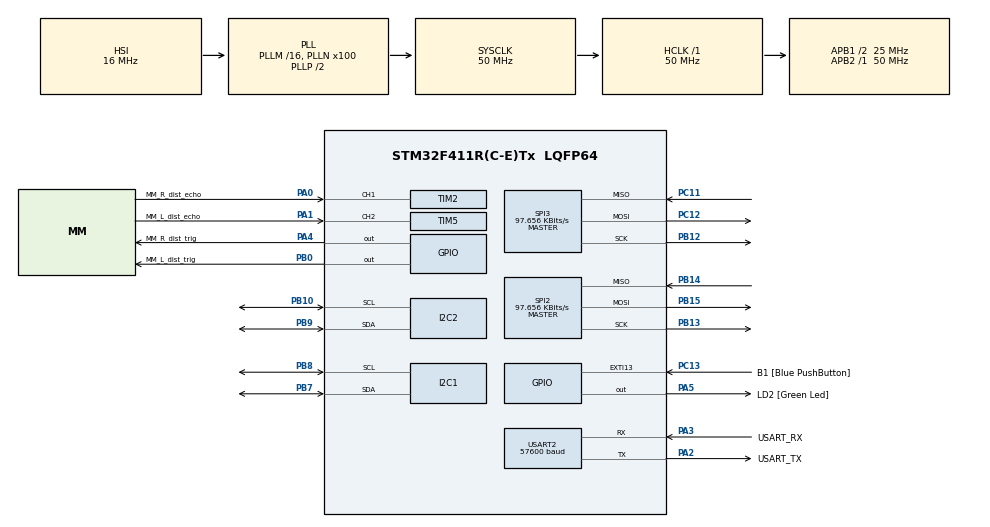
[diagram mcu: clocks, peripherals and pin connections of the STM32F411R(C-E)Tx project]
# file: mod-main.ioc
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Mcu.Family=STM32F4
VP_TIM5_VS_ClockSourceINT.Mode=Internal
RCC.CortexFreq_Value=50000000
SPI3.Direction=SPI_DIRECTION_2LINES
SPI3.VirtualType=VM_MASTER
TIM2.Channel-Input_Capture1_from_TI1=TIM_CHANNEL_1
SPI2.VirtualType=VM_MASTER
PB10.Mode=I2C
PC12.Signal=SPI3_MOSI
PA14.GPIO_Label=TCK
SH.S_TIM5_CH2.0=TIM5_CH2,Input_Capture2_from_TI2
PB0.GPIO_Label=MM_L_dist_trig
PB13.Signal=SPI2_SCK
PB15.Signal=SPI2_MOSI
RCC.SYSCLKSource=RCC_SYSCLKSOURCE_PLLCLK
ProjectManager.StackSize=0x400
PH0\ -\ OSC_IN.Signal=RCC_OSC_IN
TIM2.ICPolarity_CH1=TIM_INPUTCHANNELPOLARITY_BOTHEDGE
NVIC.TIM5_IRQn=true\:5\:0\:false\:false\:true\:true\:true\:true
RCC.HCLKFreq_Value=50000000
RCC.APB2TimFreq_Value=50000000
TIM2.ClockDivision=TIM_CLOCKDIVISION_DIV1
RCC.AHBFreq_Value=50000000
SPI2.BaudRatePrescaler=SPI_BAUDRATEPRESCALER_256
NVIC.TIM1_TRG_COM_TIM11_IRQn=true\:0\:0\:false\:false\:true\:false\:false\:true
RCC.HSE_VALUE=8000000
PC13-ANTI_TAMP.Signal=GPXTI13
PC14-OSC32_IN.Mode=LSE-External-Oscillator
PA14.Mode=Serial_Wire
PB14.Mode=Full_Duplex_Master
NVIC.TIM2_IRQn=true\:5\:0\:false\:false\:true\:true\:true\:true
SPI2.CalculateBaudRate=97.656 KBits/s
PB7.Signal=I2C1_SDA
VP_FREERTOS_VS_CMSIS_V1.Mode=CMSIS_V1
TIM9.Prescaler=50 - 1
RCC.FLatency-AdvancedSettings=FLASH_LATENCY_1
Mcu.Package=LQFP64
PB9.Signal=I2C2_SDA
TIM2.Prescaler=50
PB12.Mode=Full_Duplex_Master
NVIC.TimeBase=TIM1_TRG_COM_TIM11_IRQn
SPI2.Mode=SPI_MODE_MASTER
SPI3.Mode=SPI_MODE_MASTER
USART2.VirtualMode=VM_ASYNC
PA2.GPIO_Label=USART_TX
NVIC.TimeBaseIP=TIM11
PC11.Mode=Full_Duplex_Master
TIM5.ICFilter_CH2=4
RCC.APB1TimFreq_Value=50000000
SPI2.Direction=SPI_DIRECTION_2LINES
PB13.Mode=Full_Duplex_Master
PA4.GPIO_Label=MM_R_dist_trig
TIM9.Period=1
PA3.Signal=USART2_RX
PB3.GPIO_Label=SWO
PC15-OSC32_OUT.Mode=LSE-External-Oscillator
FREERTOS.Tasks01=defaultTask,-1,128,StartDefaultTask,Default,NULL,Dynamic,NULL,NULL;MM_R_task,-2,128,MM_R_t,Default,NULL,Dynamic,NULL,NULL;MM_L_task,-2,128,MM_L_t,Default,NULL,Dynamic,NULL,NULL
TIM2.CounterMode=TIM_COUNTERMODE_UP
PC13-ANTI_TAMP.GPIO_Label=B1 [Blue PushButton]
PC11.Signal=SPI3_MISO
PH1\ -\ OSC_OUT.Mode=HSE-External-Clock-Source
RCC.APB1CLKDivider=RCC_HCLK_DIV2
PC14-OSC32_IN.Signal=RCC_OSC32_IN
USART2.BaudRate=57600
TIM5.ICPolarity_CH2=TIM_INPUTCHANNELPOLARITY_BOTHEDGE
TIM5.AutoReloadPreload=TIM_AUTORELOAD_PRELOAD_DISABLE
PA0-WKUP.GPIO_Label=MM_R_dist_echo
PA0-WKUP.Signal=S_TIM2_CH1_ETR
TIM5.Channel-Input_Capture2_from_TI2=TIM_CHANNEL_2
PA13.Signal=SYS_JTMS-SWDIO
PA3.Mode=Asynchronous
PH0\ -\ OSC_IN.Mode=HSE-External-Clock-Source
ProjectManager.TargetToolchain=STM32CubeIDE
PB9.Mode=I2C
TIM2.ICFilter_CH1=4
PC15-OSC32_OUT.Signal=RCC_OSC32_OUT
PA1.Signal=S_TIM5_CH2
PB10.Signal=I2C2_SCL
PB14.Signal=SPI2_MISO
PA5.Signal=GPIO_Output
PC12.Mode=Full_Duplex_Master
PH1\ -\ OSC_OUT.Signal=RCC_OSC_OUT
board=NUCLEO-F411RE
RCC.VCOOutputFreq_Value=100000000
PB15.Mode=Full_Duplex_Master
VP_TIM9_VS_ClockSourceINT.Mode=Internal
RCC.APB2Freq_Value=50000000
SPI3.CalculateBaudRate=97.656 KBits/s
VP_TIM2_VS_ClockSourceINT.Mode=Internal
SPI3.BaudRatePrescaler=SPI_BAUDRATEPRESCALER_256
PA1.GPIO_Label=MM_L_dist_echo
TIM2.Period=1000000
PA13.Mode=Serial_Wire
Mcu.Name=STM32F411R(C-E)Tx
VP_SYS_VS_tim11.Mode=TIM11
PA2.Signal=USART2_TX
PA13.GPIO_Label=TMS
RCC.48MHZClocksFreq_Value=25000000
PB3.Signal=SYS_JTDO-SWO
PA4.Signal=GPIO_Output
RCC.SYSCLKFreq_VALUE=50000000
PA5.GPIO_Label=LD2 [Green Led]
TIM5.Prescaler=50
PC13-ANTI_TAMP.GPIO_ModeDefaultEXTI=GPIO_MODE_IT_FALLING
PB7.Mode=I2C
SH.S_TIM2_CH1_ETR.0=TIM2_CH1,Input_Capture1_from_TI1
PA14.Signal=SYS_JTCK-SWCLK
ProjectManager.HeapSize=0x200
RCC.HSI_VALUE=16000000
NVIC.PriorityGroup=NVIC_PRIORITYGROUP_4
PB8.Mode=I2C
RCC.PLLN=100
PA2.Mode=Asynchronous
PB8.Signal=I2C1_SCL
TIM2.AutoReloadPreload=TIM_AUTORELOAD_PRELOAD_DISABLE
TIM5.Period=1000000
RCC.APB1Freq_Value=25000000
PB0.Signal=GPIO_Output
PB12.Signal=SPI3_SCK
PA3.GPIO_Label=USART_RX

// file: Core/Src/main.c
/* USER CODE BEGIN Header */
/**
  ******************************************************************************
  * @file           : main.c
  * @brief          : Main program body
  ******************************************************************************
  * @attention
  *
  * <h2><center>&copy; Copyright (c) 2021 STMicroelectronics.
  * All rights reserved.</center></h2>
  *
  * This software component is licensed by ST under BSD 3-Clause license,
  * the "License"; You may not use this file except in compliance with the
  * License. You may obtain a copy of the License at:
  *                        opensource.org/licenses/BSD-3-Clause
  *
  ******************************************************************************
  */
/* USER CODE END Header */
#include "main.h"
#include "cmsis_os.h"

/* USER CODE BEGIN Includes */
#include <stdio.h>
#include <string.h>
#include "distance.h"

/* USER CODE END Includes */

I2C_HandleTypeDef hi2c1;
I2C_HandleTypeDef hi2c2;

SPI_HandleTypeDef hspi2;
SPI_HandleTypeDef hspi3;

TIM_HandleTypeDef htim2;
TIM_HandleTypeDef htim5;
TIM_HandleTypeDef htim9;

UART_HandleTypeDef huart2;

osThreadId defaultTaskHandle;
osThreadId MM_R_taskHandle;
osThreadId MM_L_taskHandle;

void SystemClock_Config(void);
static void MX_GPIO_Init(void);
static void MX_USART2_UART_Init(void);
static void MX_I2C1_Init(void);
static void MX_I2C2_Init(void);
static void MX_SPI2_Init(void);
static void MX_SPI3_Init(void);
static void MX_TIM9_Init(void);
static void MX_TIM2_Init(void);
static void MX_TIM5_Init(void);
void StartDefaultTask(void const * argument);
void MM_R_t(void const * argument);
void MM_L_t(void const * argument);

int main(void)
{

  /* MCU Configuration--------------------------------------------------------*/

  /* Reset of all peripherals, Initializes the Flash interface and the Systick. */
  HAL_Init();

  /* Configure the system clock */
  SystemClock_Config();

  /* Initialize all configured peripherals */
  MX_GPIO_Init();
  MX_USART2_UART_Init();
  MX_I2C1_Init();
  MX_I2C2_Init();
  MX_SPI2_Init();
  MX_SPI3_Init();
  MX_TIM9_Init();
  MX_TIM2_Init();
  MX_TIM5_Init();
  /* USER CODE BEGIN 2 */
  HAL_TIM_IC_Start_IT(&htim2, HAL_TIM_ACTIVE_CHANNEL_1);
  HAL_TIM_IC_Start_IT(&htim5, HAL_TIM_ACTIVE_CHANNEL_2);

  MM_task_init();
  /* USER CODE END 2 */

  /* Create the thread(s) */
  /* definition and creation of defaultTask */
  osThreadDef(defaultTask, StartDefaultTask, osPriorityBelowNormal, 0, 128);
  defaultTaskHandle = osThreadCreate(osThread(defaultTask), NULL);

  /* definition and creation of MM_R_task */
  osThreadDef(MM_R_task, MM_R_t, osPriorityLow, 0, 128);
  MM_R_taskHandle = osThreadCreate(osThread(MM_R_task), NULL);

  /* definition and creation of MM_L_task */
  osThreadDef(MM_L_task, MM_L_t, osPriorityLow, 0, 128);
  MM_L_taskHandle = osThreadCreate(osThread(MM_L_task), NULL);

  /* Start scheduler */
  osKernelStart();

  /* We should never get here as control is now taken by the scheduler */
  /* Infinite loop */
  while (1)
  {

  }
}

void SystemClock_Config(void)
{
  RCC_OscInitTypeDef RCC_OscInitStruct = {0};
  RCC_ClkInitTypeDef RCC_ClkInitStruct = {0};

  /** Configure the main internal regulator output voltage
  */
  __HAL_RCC_PWR_CLK_ENABLE();
  __HAL_PWR_VOLTAGESCALING_CONFIG(PWR_REGULATOR_VOLTAGE_SCALE1);
  /** Initializes the RCC Oscillators according to the specified parameters
  * in the RCC_OscInitTypeDef structure.
  */
  RCC_OscInitStruct.OscillatorType = RCC_OSCILLATORTYPE_HSI;
  RCC_OscInitStruct.HSIState = RCC_HSI_ON;
  RCC_OscInitStruct.HSICalibrationValue = RCC_HSICALIBRATION_DEFAULT;
  RCC_OscInitStruct.PLL.PLLState = RCC_PLL_ON;
  RCC_OscInitStruct.PLL.PLLSource = RCC_PLLSOURCE_HSI;
  RCC_OscInitStruct.PLL.PLLM = 16;
  RCC_OscInitStruct.PLL.PLLN = 100;
  RCC_OscInitStruct.PLL.PLLP = RCC_PLLP_DIV2;
  RCC_OscInitStruct.PLL.PLLQ = 4;
  if (HAL_RCC_OscConfig(&RCC_OscInitStruct) != HAL_OK)
  {
    Error_Handler();
  }
  /** Initializes the CPU, AHB and APB buses clocks
  */
  RCC_ClkInitStruct.ClockType = RCC_CLOCKTYPE_HCLK|RCC_CLOCKTYPE_SYSCLK
                              |RCC_CLOCKTYPE_PCLK1|RCC_CLOCKTYPE_PCLK2;
  RCC_ClkInitStruct.SYSCLKSource = RCC_SYSCLKSOURCE_PLLCLK;
  RCC_ClkInitStruct.AHBCLKDivider = RCC_SYSCLK_DIV1;
  RCC_ClkInitStruct.APB1CLKDivider = RCC_HCLK_DIV2;
  RCC_ClkInitStruct.APB2CLKDivider = RCC_HCLK_DIV1;

  if (HAL_RCC_ClockConfig(&RCC_ClkInitStruct, FLASH_LATENCY_1) != HAL_OK)
  {
    Error_Handler();
  }
}

static void MX_I2C1_Init(void)
{

  hi2c1.Instance = I2C1;
  hi2c1.Init.ClockSpeed = 100000;
  hi2c1.Init.DutyCycle = I2C_DUTYCYCLE_2;
  hi2c1.Init.OwnAddress1 = 0;
  hi2c1.Init.AddressingMode = I2C_ADDRESSINGMODE_7BIT;
  hi2c1.Init.DualAddressMode = I2C_DUALADDRESS_DISABLE;
  hi2c1.Init.OwnAddress2 = 0;
  hi2c1.Init.GeneralCallMode = I2C_GENERALCALL_DISABLE;
  hi2c1.Init.NoStretchMode = I2C_NOSTRETCH_DISABLE;
  if (HAL_I2C_Init(&hi2c1) != HAL_OK)
  {
    Error_Handler();
  }

}

static void MX_I2C2_Init(void)
{

  hi2c2.Instance = I2C2;
  hi2c2.Init.ClockSpeed = 100000;
  hi2c2.Init.DutyCycle = I2C_DUTYCYCLE_2;
  hi2c2.Init.OwnAddress1 = 0;
  hi2c2.Init.AddressingMode = I2C_ADDRESSINGMODE_7BIT;
  hi2c2.Init.DualAddressMode = I2C_DUALADDRESS_DISABLE;
  hi2c2.Init.OwnAddress2 = 0;
  hi2c2.Init.GeneralCallMode = I2C_GENERALCALL_DISABLE;
  hi2c2.Init.NoStretchMode = I2C_NOSTRETCH_DISABLE;
  if (HAL_I2C_Init(&hi2c2) != HAL_OK)
  {
    Error_Handler();
  }

}

static void MX_SPI2_Init(void)
{

  /* SPI2 parameter configuration*/
  hspi2.Instance = SPI2;
  hspi2.Init.Mode = SPI_MODE_MASTER;
  hspi2.Init.Direction = SPI_DIRECTION_2LINES;
  hspi2.Init.DataSize = SPI_DATASIZE_8BIT;
  hspi2.Init.CLKPolarity = SPI_POLARITY_LOW;
  hspi2.Init.CLKPhase = SPI_PHASE_1EDGE;
  hspi2.Init.NSS = SPI_NSS_SOFT;
  hspi2.Init.BaudRatePrescaler = SPI_BAUDRATEPRESCALER_256;
  hspi2.Init.FirstBit = SPI_FIRSTBIT_MSB;
  hspi2.Init.TIMode = SPI_TIMODE_DISABLE;
  hspi2.Init.CRCCalculation = SPI_CRCCALCULATION_DISABLE;
  hspi2.Init.CRCPolynomial = 10;
  if (HAL_SPI_Init(&hspi2) != HAL_OK)
  {
    Error_Handler();
  }

}

static void MX_SPI3_Init(void)
{

  /* SPI3 parameter configuration*/
  hspi3.Instance = SPI3;
  hspi3.Init.Mode = SPI_MODE_MASTER;
  hspi3.Init.Direction = SPI_DIRECTION_2LINES;
  hspi3.Init.DataSize = SPI_DATASIZE_8BIT;
  hspi3.Init.CLKPolarity = SPI_POLARITY_LOW;
  hspi3.Init.CLKPhase = SPI_PHASE_1EDGE;
  hspi3.Init.NSS = SPI_NSS_SOFT;
  hspi3.Init.BaudRatePrescaler = SPI_BAUDRATEPRESCALER_256;
  hspi3.Init.FirstBit = SPI_FIRSTBIT_MSB;
  hspi3.Init.TIMode = SPI_TIMODE_DISABLE;
  hspi3.Init.CRCCalculation = SPI_CRCCALCULATION_DISABLE;
  hspi3.Init.CRCPolynomial = 10;
  if (HAL_SPI_Init(&hspi3) != HAL_OK)
  {
    Error_Handler();
  }

}

static void MX_TIM2_Init(void)
{

  TIM_ClockConfigTypeDef sClockSourceConfig = {0};
  TIM_MasterConfigTypeDef sMasterConfig = {0};
  TIM_IC_InitTypeDef sConfigIC = {0};

  htim2.Instance = TIM2;
  htim2.Init.Prescaler = 50;
  htim2.Init.CounterMode = TIM_COUNTERMODE_UP;
  htim2.Init.Period = 1000000;
  htim2.Init.ClockDivision = TIM_CLOCKDIVISION_DIV1;
  htim2.Init.AutoReloadPreload = TIM_AUTORELOAD_PRELOAD_DISABLE;
  if (HAL_TIM_Base_Init(&htim2) != HAL_OK)
  {
    Error_Handler();
  }
  sClockSourceConfig.ClockSource = TIM_CLOCKSOURCE_INTERNAL;
  if (HAL_TIM_ConfigClockSource(&htim2, &sClockSourceConfig) != HAL_OK)
  {
    Error_Handler();
  }
  if (HAL_TIM_IC_Init(&htim2) != HAL_OK)
  {
    Error_Handler();
  }
  sMasterConfig.MasterOutputTrigger = TIM_TRGO_RESET;
  sMasterConfig.MasterSlaveMode = TIM_MASTERSLAVEMODE_DISABLE;
  if (HAL_TIMEx_MasterConfigSynchronization(&htim2, &sMasterConfig) != HAL_OK)
  {
    Error_Handler();
  }
  sConfigIC.ICPolarity = TIM_INPUTCHANNELPOLARITY_BOTHEDGE;
  sConfigIC.ICSelection = TIM_ICSELECTION_DIRECTTI;
  sConfigIC.ICPrescaler = TIM_ICPSC_DIV1;
  sConfigIC.ICFilter = 4;
  if (HAL_TIM_IC_ConfigChannel(&htim2, &sConfigIC, TIM_CHANNEL_1) != HAL_OK)
  {
    Error_Handler();
  }

}

static void MX_TIM5_Init(void)
{

  TIM_ClockConfigTypeDef sClockSourceConfig = {0};
  TIM_MasterConfigTypeDef sMasterConfig = {0};
  TIM_IC_InitTypeDef sConfigIC = {0};

  htim5.Instance = TIM5;
  htim5.Init.Prescaler = 50;
  htim5.Init.CounterMode = TIM_COUNTERMODE_UP;
  htim5.Init.Period = 1000000;
  htim5.Init.ClockDivision = TIM_CLOCKDIVISION_DIV1;
  htim5.Init.AutoReloadPreload = TIM_AUTORELOAD_PRELOAD_DISABLE;
  if (HAL_TIM_Base_Init(&htim5) != HAL_OK)
  {
    Error_Handler();
  }
  sClockSourceConfig.ClockSource = TIM_CLOCKSOURCE_INTERNAL;
  if (HAL_TIM_ConfigClockSource(&htim5, &sClockSourceConfig) != HAL_OK)
  {
    Error_Handler();
  }
  if (HAL_TIM_IC_Init(&htim5) != HAL_OK)
  {
    Error_Handler();
  }
  sMasterConfig.MasterOutputTrigger = TIM_TRGO_RESET;
  sMasterConfig.MasterSlaveMode = TIM_MASTERSLAVEMODE_DISABLE;
  if (HAL_TIMEx_MasterConfigSynchronization(&htim5, &sMasterConfig) != HAL_OK)
  {
    Error_Handler();
  }
  sConfigIC.ICPolarity = TIM_INPUTCHANNELPOLARITY_BOTHEDGE;
  sConfigIC.ICSelection = TIM_ICSELECTION_DIRECTTI;
  sConfigIC.ICPrescaler = TIM_ICPSC_DIV1;
  sConfigIC.ICFilter = 4;
  if (HAL_TIM_IC_ConfigChannel(&htim5, &sConfigIC, TIM_CHANNEL_2) != HAL_OK)
  {
    Error_Handler();
  }

}

static void MX_TIM9_Init(void)
{

  TIM_ClockConfigTypeDef sClockSourceConfig = {0};

  htim9.Instance = TIM9;
  htim9.Init.Prescaler = 50 - 1;
  htim9.Init.CounterMode = TIM_COUNTERMODE_UP;
  htim9.Init.Period = 1;
  htim9.Init.ClockDivision = TIM_CLOCKDIVISION_DIV1;
  htim9.Init.AutoReloadPreload = TIM_AUTORELOAD_PRELOAD_DISABLE;
  if (HAL_TIM_Base_Init(&htim9) != HAL_OK)
  {
    Error_Handler();
  }
  sClockSourceConfig.ClockSource = TIM_CLOCKSOURCE_INTERNAL;
  if (HAL_TIM_ConfigClockSource(&htim9, &sClockSourceConfig) != HAL_OK)
  {
    Error_Handler();
  }

}

static void MX_USART2_UART_Init(void)
{

  huart2.Instance = USART2;
  huart2.Init.BaudRate = 57600;
  huart2.Init.WordLength = UART_WORDLENGTH_8B;
  huart2.Init.StopBits = UART_STOPBITS_1;
  huart2.Init.Parity = UART_PARITY_NONE;
  huart2.Init.Mode = UART_MODE_TX_RX;
  huart2.Init.HwFlowCtl = UART_HWCONTROL_NONE;
  huart2.Init.OverSampling = UART_OVERSAMPLING_16;
  if (HAL_UART_Init(&huart2) != HAL_OK)
  {
    Error_Handler();
  }

}

static void MX_GPIO_Init(void)
{
  GPIO_InitTypeDef GPIO_InitStruct = {0};

  /* GPIO Ports Clock Enable */
  __HAL_RCC_GPIOC_CLK_ENABLE();
  __HAL_RCC_GPIOH_CLK_ENABLE();
  __HAL_RCC_GPIOA_CLK_ENABLE();
  __HAL_RCC_GPIOB_CLK_ENABLE();

  /*Configure GPIO pin Output Level */
  HAL_GPIO_WritePin(GPIOA, MM_R_dist_trig_Pin|LD2_Pin, GPIO_PIN_RESET);

  /*Configure GPIO pin Output Level */
  HAL_GPIO_WritePin(MM_L_dist_trig_GPIO_Port, MM_L_dist_trig_Pin, GPIO_PIN_RESET);

  /*Configure GPIO pin : B1_Pin */
  GPIO_InitStruct.Pin = B1_Pin;
  GPIO_InitStruct.Mode = GPIO_MODE_IT_FALLING;
  GPIO_InitStruct.Pull = GPIO_NOPULL;
  HAL_GPIO_Init(B1_GPIO_Port, &GPIO_InitStruct);

  /*Configure GPIO pins : MM_R_dist_trig_Pin LD2_Pin */
  GPIO_InitStruct.Pin = MM_R_dist_trig_Pin|LD2_Pin;
  GPIO_InitStruct.Mode = GPIO_MODE_OUTPUT_PP;
  GPIO_InitStruct.Pull = GPIO_NOPULL;
  GPIO_InitStruct.Speed = GPIO_SPEED_FREQ_LOW;
  HAL_GPIO_Init(GPIOA, &GPIO_InitStruct);

  /*Configure GPIO pin : MM_L_dist_trig_Pin */
  GPIO_InitStruct.Pin = MM_L_dist_trig_Pin;
  GPIO_InitStruct.Mode = GPIO_MODE_OUTPUT_PP;
  GPIO_InitStruct.Pull = GPIO_NOPULL;
  GPIO_InitStruct.Speed = GPIO_SPEED_FREQ_LOW;
  HAL_GPIO_Init(MM_L_dist_trig_GPIO_Port, &GPIO_InitStruct);

}

/* USER CODE BEGIN 4 */
int compare_function(const void *a,const void *b) {
	int *x = (int *) a;
	int *y = (int *) b;
	return *x - *y;
}
void usDelay (uint32_t uSec)
{
	// 	 w rzeczywistosci 10us to 15.7us spr. oscyloskopem
	HAL_TIM_Base_Stop(&htim9);
    htim9.Instance->ARR = uSec;
    HAL_TIM_Base_Start(&htim9);

    while (__HAL_TIM_GET_FLAG(&htim9, TIM_FLAG_UPDATE) != SET);

    if (__HAL_TIM_GET_FLAG(&htim9, TIM_FLAG_UPDATE) != RESET)
    {
    	HAL_TIM_Base_Stop(&htim9);
    	__HAL_TIM_CLEAR_FLAG(&htim9, TIM_FLAG_UPDATE);
    }
}

/* USER CODE END 4 */

void StartDefaultTask(void const * argument)
{
  /* USER CODE BEGIN 5 */
  /* Infinite loop */
  for(;;)
  {
#ifdef UART_MM_DEBUG
	  UART_DS_debug (MM_drive.LS_distance, MM_drive.RS_distance);
#endif
	  osDelay(100);
  }
  /* USER CODE END 5 */
}

void MM_R_t(void const * argument)
{
  /* USER CODE BEGIN MM_R_t */
  /* Infinite loop */
	MM_R_dist_t();
  /* USER CODE END MM_R_t */
}

void MM_L_t(void const * argument)
{
  /* USER CODE BEGIN MM_L_t */
  /* Infinite loop */
	MM_L_dist_t();
  /* USER CODE END MM_L_t */
}

 /**
  * @brief  Period elapsed callback in non blocking mode
  * @note   This function is called  when TIM11 interrupt took place, inside
  * HAL_TIM_IRQHandler(). It makes a direct call to HAL_IncTick() to increment
  * a global variable "uwTick" used as application time base.
  * @param  htim : TIM handle
  * @retval None
  */
void HAL_TIM_PeriodElapsedCallback(TIM_HandleTypeDef *htim)
{
  if (htim->Instance == TIM11) {
    HAL_IncTick();
  }
}

void Error_Handler(void)
{
  __disable_irq();
  while (1)
  {
  }
}

/************************ (C) COPYRIGHT STMicroelectronics *****END OF FILE****/
